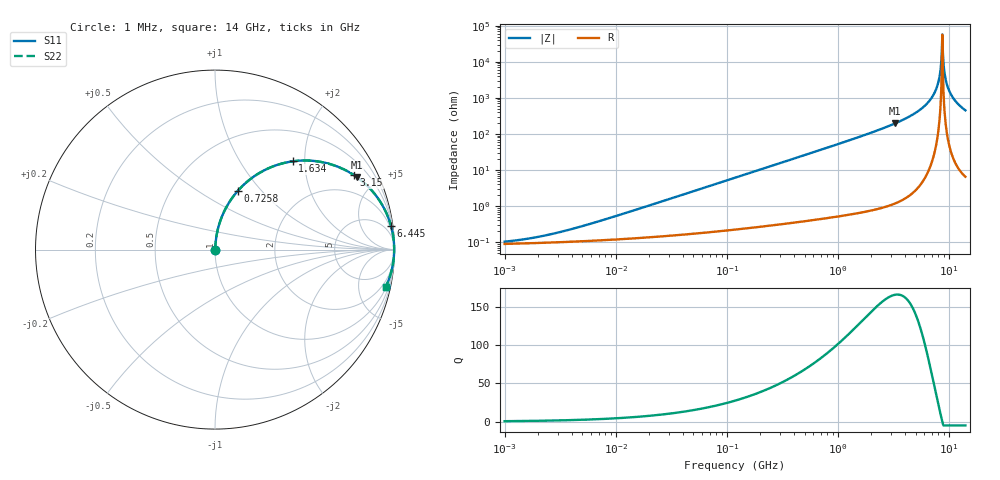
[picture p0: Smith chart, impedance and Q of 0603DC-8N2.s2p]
# MHz  S  MA  R  50
!Freq  MagS11  AngS11  MagS21  AngS21  MagS12  AngS12  MagS22  AngS22
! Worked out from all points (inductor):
!   801 points, 1 MHz to 14 GHz, reference 50 ohm
!   read as one part in series: L = 8.2 nH near 6.434 MHz
!   highest Q = 166 at 3.265 GHz (marker M1), where L = 9.55 nH
!   self-resonance near 8.583 GHz
!   S11 on the Smith chart (normalised r, x): 1 MHz: 1.00, +0.00; 725.8 MHz: 1.01, +0.75; 1.634 GHz: 1.01, +1.75; 3.15 GHz: 1.02, +3.74; 6.445 GHz: 1, +15; 14 GHz: 1.13, -9.01
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1  0.001032 29.9  0.9991 -0.0  0.9991 -0.0  0.001032 29.9
4.948533  0.002758 67.3  0.9989 -0.1  0.9989 -0.1  0.002758 67.3
24.19749  0.01253 82.8  0.9985 -0.7  0.9985 -0.7  0.01253 82.8
119.742  0.06149 84.4  0.9959 -3.5  0.9959 -3.5  0.06149 84.4
585.5183  0.289 72.4  0.9535 -16.8  0.9535 -16.8  0.289 72.4
725.819  0.3511 68.8  0.9322 -20.6  0.9322 -20.6  0.3511 68.8
1633.989  0.6551 48.6  0.7506 -40.9  0.7506 -40.9  0.6551 48.6
2863.085  0.8536 31.0  0.5157 -58.6  0.5157 -58.6  0.8536 31.0
3149.891  0.8795 28.1  0.4706 -61.6  0.4706 -61.6  0.8795 28.1
3264.702  0.8885 27.0  0.4535 -62.7  0.4535 -62.7  0.8885 27.0
4898.397  0.9637 15.1  0.2603 -74.5  0.2603 -74.5  0.9637 15.1
6445.478  0.9894 7.7  0.1337 -81.6  0.1337 -81.6  0.9894 7.7
7708.947  0.997 3.0  0.05305 -85.2  0.05305 -85.2  0.997 3.0
8085.85  0.9978 1.8  0.03172 -85.2  0.03172 -85.2  0.9978 1.8
8380.572  0.9982 0.9  0.01577 -83.0  0.01577 -83.0  0.9982 0.9
8686.036  0.9983 -0.0  0.001753 10.0  0.001753 10.0  0.9983 -0.0
9002.634  0.9981 -0.9  0.01638 82.8  0.01638 82.8  0.9981 -0.9
9330.772  0.9976 -1.8  0.03233 84.9  0.03233 84.9  0.9976 -1.8
9556.149  0.9972 -2.5  0.04298 85.0  0.04298 85.0  0.9972 -2.5
10143.7  0.9956 -4.0  0.06968 84.4  0.06968 84.4  0.9956 -4.0
11566.59  0.9893 -7.4  0.1288 81.6  0.1288 81.6  0.9893 -7.4
14000  0.9733 -12.5  0.2161 76.7  0.2161 76.7  0.9733 -12.5
